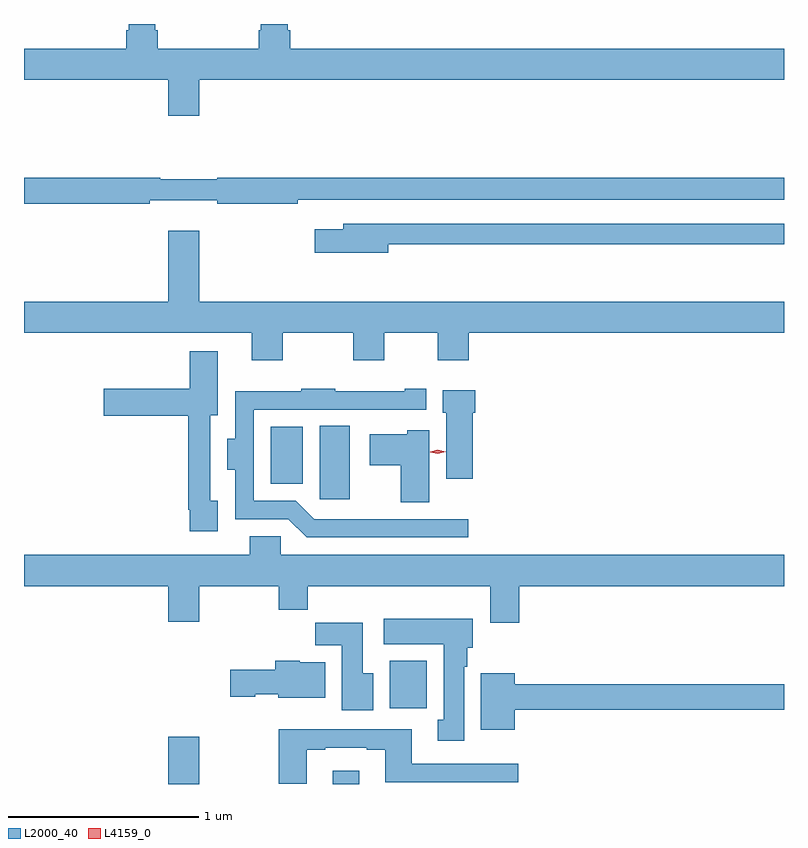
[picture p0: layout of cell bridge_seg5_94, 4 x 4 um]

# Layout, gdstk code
import gdstk
lib = gdstk.Library(unit=1e-6, precision=1e-09)
def R(c, l, rs):  # rectangles x0, y0, x1, y1
    for r in rs: c.add(gdstk.rectangle(r[:2], r[2:], *l))
def P(c, l, *ps):  # polygons
    for p in ps: c.add(gdstk.Polygon(p, *l))
L2000_40 = (2000, 40)
L4159_0 = (4159, 0)

bridge_seg5_94 = lib.new_cell('bridge_seg5_94')
R(bridge_seg5_94, L2000_40, [(596.576,871.702,596.74,871.951), (597.443,871.702,597.583,871.771), (597.743,872.1,597.939,872.35), (597.374,873.201,597.532,873.587), (597.116,873.281,597.286,873.583)])
P(bridge_seg5_94, L2000_40, [(596.74,875.408),(599.818,875.408),(599.818,875.572),(597.218,875.572),(597.218,875.668),(597.205,875.668),(597.205,875.702),(597.065,875.702),(597.065,875.668),(597.053,875.668),(597.053,875.572),(596.522,875.572),(596.522,875.668),(596.509,875.668),(596.509,875.702),(596.369,875.702),(596.369,875.668),(596.357,875.668),(596.357,875.572),(595.818,875.572),(595.818,875.408),(596.576,875.408),(596.576,875.22),(596.74,875.22)],
  [(596.48,874.775),(596.836,874.775),(596.836,874.756),(597.26,874.756),(597.26,874.776),(599.818,874.776),(599.818,874.892),(596.834,874.892),(596.834,874.885),(596.534,874.885),(596.534,874.892),(595.818,874.892),(595.818,874.756),(596.48,874.756)],
  [(597.736,874.542),(599.818,874.542),(599.818,874.65),(597.497,874.65),(597.497,874.621),(597.348,874.621),(597.348,874.499),(597.736,874.499)],
  [(597.181,874.076),(597.551,874.076),(597.551,873.933),(597.715,873.933),(597.715,874.076),(597.995,874.076),(597.995,873.933),(598.159,873.933),(598.159,874.076),(599.818,874.076),(599.818,874.24),(596.74,874.24),(596.74,874.615),(596.576,874.615),(596.576,874.24),(595.818,874.24),(595.818,874.076),(597.017,874.076),(597.017,873.933),(597.181,873.933)],
  [(596.839,873.193),(596.799,873.193),(596.799,873.644),(596.839,873.644),(596.839,873.979),(596.69,873.979),(596.69,873.783),(596.238,873.783),(596.238,873.641),(596.683,873.641),(596.683,873.145),(596.691,873.145),(596.691,873.033),(596.839,873.033)],
  [(598.156,873.096),(597.345,873.096),(597.249,873.192),(597.027,873.192),(597.027,873.672),(597.934,873.672),(597.934,873.781),(597.821,873.781),(597.821,873.769),(597.455,873.769),(597.455,873.781),(597.277,873.781),(597.277,873.769),(596.931,873.769),(596.931,873.52),(596.888,873.52),(596.888,873.356),(596.93,873.356),(596.93,873.096),(597.21,873.096),(597.306,873),(598.156,873)],
  [(598.181,873.657),(598.193,873.657),(598.193,873.775),(598.022,873.775),(598.022,873.657),(598.04,873.657),(598.04,873.309),(598.181,873.309)],
  [(597.952,873.565),(597.834,873.565),(597.834,873.544),(597.639,873.544),(597.639,873.38),(597.8,873.38),(597.8,873.185),(597.952,873.185)],
  [(598.424,872.744),(599.818,872.744),(599.818,872.908),(597.168,872.908),(597.168,873.006),(597.005,873.006),(597.005,872.908),(595.818,872.908),(595.818,872.744),(596.576,872.744),(596.576,872.556),(596.74,872.556),(596.74,872.744),(597.16,872.744),(597.16,872.62),(597.311,872.62),(597.311,872.744),(598.271,872.744),(598.271,872.55),(598.424,872.55)],
  [(598.135,872.318),(598.15,872.318),(598.15,872.418),(598.18,872.418),(598.18,872.572),(597.711,872.572),(597.711,872.438),(598.028,872.438),(598.028,872.041),(597.995,872.041),(597.995,871.929),(598.135,871.929)],
  [(597.655,872.284),(597.601,872.284),(597.601,872.551),(597.352,872.551),(597.352,872.432),(597.491,872.432),(597.491,872.091),(597.655,872.091)],
  [(597.403,872.344),(597.27,872.344),(597.27,872.35),(597.14,872.35),(597.14,872.304),(596.904,872.304),(596.904,872.162),(597.036,872.162),(597.036,872.174),(597.156,872.174),(597.156,872.156),(597.403,872.156)],
  [(598.402,872.092),(599.818,872.092),(599.818,872.228),(598.402,872.228),(598.402,872.284),(598.223,872.284),(598.223,871.988),(598.402,871.988)],
  [(597.307,871.881),(597.403,871.881),(597.403,871.893),(597.623,871.893),(597.623,871.881),(597.719,871.881),(597.719,871.712),(598.42,871.712),(598.42,871.809),(597.859,871.809),(597.859,871.989),(597.395,871.989),(597.395,871.99),(597.16,871.99),(597.16,871.704),(597.307,871.704)])
P(bridge_seg5_94, L4159_0, [(597.996,873.44),(597.956,873.449),(597.955,873.45),(597.956,873.45),(597.996,873.46),(598.037,873.45),(598.037,873.45),(598.037,873.45)])

lib.write_gds('bridge_seg5_94.gds')
